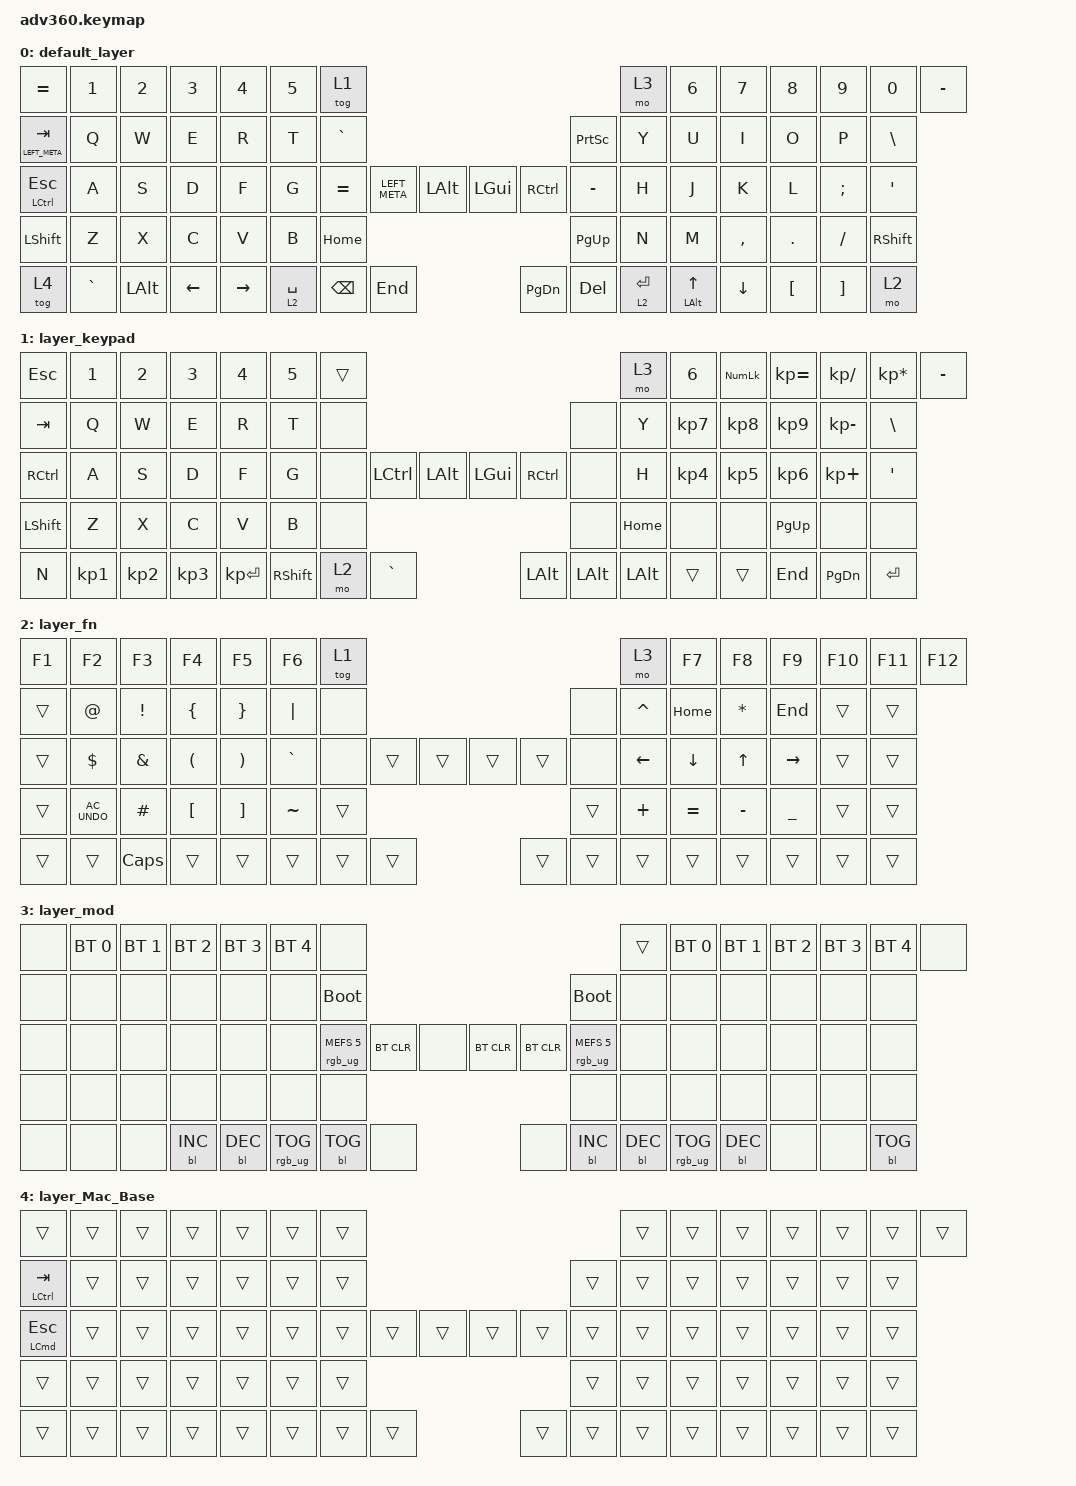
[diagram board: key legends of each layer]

/*
 * Copyright (c) 2020 The ZMK Contributors
 *
 * SPDX-License-Identifier: MIT
 */


/* THIS FILE WAS GENERATED!
 *
 * This file was generated automatically. You may or may not want to
 * edit it directly.
 */

#include <behaviors.dtsi>
#include <dt-bindings/zmk/keys.h>
#include <dt-bindings/zmk/bt.h>
#include <dt-bindings/zmk/rgb.h>
#include <dt-bindings/zmk/backlight.h>

/ {
  behaviors {
    #include "macros.dtsi"
    #include "version.dtsi"

    hm: homerow_mods {
        compatible = "zmk,behavior-hold-tap";
        label = "HOMEROW_MODS";
        #binding-cells = <2>;
        tapping-term-ms = <200>;
        quick_tap_ms = <175>;
        flavor = "tap-preferred";
        bindings = <&kp>, <&kp>;
    };
  };

    keymap {
        compatible = "zmk,keymap";


        default_layer {
            bindings = <
            &kp EQUAL     &kp N1        &kp N2          &kp N3           &kp N4  &kp N5                 &tog 1                                                                           &mo 3  &kp N6                 &kp N7          &kp N8            &kp N9             &kp N0         &kp MINUS
    &mt LEFT_META TAB      &kp Q         &kp W           &kp E            &kp R   &kp T              &kp GRAVE                                                                 &kp PRINTSCREEN   &kp Y                  &kp U           &kp I             &kp O              &kp P          &kp BSLH
 &mt LEFT_CONTROL ESC      &kp A         &kp S           &kp D            &kp F   &kp G              &kp EQUAL  &kp LEFT_META  &kp LALT                   &kp LGUI  &kp RCTRL        &kp MINUS   &kp H                  &kp J           &kp K             &kp L           &kp SEMI  &kp SINGLE_QUOTE
            &kp LSHFT      &kp Z         &kp X           &kp C            &kp V   &kp B                                        &kp HOME                  &kp PG_UP                               &kp N                  &kp M       &kp COMMA           &kp DOT          &kp SLASH   &kp RIGHT_SHIFT
               &tog 4  &kp GRAVE  &kp LEFT_ALT  &kp LEFT_ARROW  &kp RIGHT_ARROW                    &lt 2 SPACE  &kp BACKSPACE   &kp END                  &kp PG_DN    &kp DEL      &lt 2 ENTER          &mt LEFT_ALT UP_ARROW  &kp DOWN_ARROW  &kp LEFT_BRACKET  &kp RIGHT_BRACKET             &mo 2
            >;
        };

        layer_keypad {
            bindings = <
           &kp ESC     &kp N1     &kp N2     &kp N3        &kp N4  &kp N5               &trans                                                                           &mo 3    &kp N6  &kp KP_NUM  &kp KP_EQUAL  &kp KP_DIVIDE  &kp KP_MULTIPLY  &kp MINUS
           &kp TAB      &kp Q      &kp W      &kp E         &kp R   &kp T                &none                                                                           &none     &kp Y   &kp KP_N7     &kp KP_N8      &kp KP_N9     &kp KP_MINUS   &kp BSLH
 &kp RIGHT_CONTROL      &kp A      &kp S      &kp D         &kp F   &kp G                &none  &kp LCTRL   &kp LALT                      &kp LGUI     &kp RCTRL         &none     &kp H   &kp KP_N4     &kp KP_N5      &kp KP_N6      &kp KP_PLUS    &kp SQT
         &kp LSHFT      &kp Z      &kp X      &kp C         &kp V   &kp B                                      &none                         &none                              &kp HOME       &none         &none      &kp PG_UP            &none      &none
             &kp N  &kp KP_N1  &kp KP_N2  &kp KP_N3  &kp KP_ENTER                    &kp RSHFT      &mo 2  &kp GRAVE                  &kp LEFT_ALT  &kp LEFT_ALT  &kp LEFT_ALT                &trans        &trans        &kp END        &kp PG_DN  &kp ENTER
            >;
        };

        layer_fn {
            bindings = <
 &kp F1         &kp F2           &kp F3                &kp F4                 &kp F5     &kp F6            &tog 1                                                   &mo 3          &kp F7          &kp F8        &kp F9          &kp F10  &kp F11  &kp F12
 &trans         &kp AT  &kp EXCLAMATION        &kp LEFT_BRACE        &kp RIGHT_BRACE   &kp PIPE             &none                                                   &none       &kp CARET        &kp HOME      &kp STAR          &kp END   &trans   &trans
 &trans     &kp DOLLAR    &kp AMPERSAND  &kp LEFT_PARENTHESIS  &kp RIGHT_PARENTHESIS  &kp GRAVE             &none  &trans  &trans                  &trans  &trans   &none  &kp LEFT_ARROW  &kp DOWN_ARROW  &kp UP_ARROW  &kp RIGHT_ARROW   &trans   &trans
 &trans  &kp C_AC_UNDO         &kp HASH      &kp LEFT_BRACKET      &kp RIGHT_BRACKET  &kp TILDE                            &trans                  &trans                        &kp PLUS       &kp EQUAL     &kp MINUS        &kp UNDER   &trans   &trans
 &trans         &trans         &kp CAPS                &trans                 &trans                       &trans  &trans  &trans                  &trans  &trans  &trans                          &trans        &trans           &trans   &trans   &trans
            >;
        };

        layer_mod {
            bindings = <
  &none  &bt BT_SEL 0  &bt BT_SEL 1  &bt BT_SEL 2  &bt BT_SEL 3  &bt BT_SEL 4                             &none                                                                              &trans  &bt BT_SEL 0     &bt BT_SEL 1  &bt BT_SEL 2  &bt BT_SEL 3  &bt BT_SEL 4       &none
  &none         &none         &none         &none         &none         &none                       &bootloader                                                                         &bootloader         &none            &none         &none         &none         &none       &none
  &none         &none         &none         &none         &none         &none            &rgb_ug RGB_MEFS_CMD 5  &bt BT_CLR   &none                  &bt BT_CLR  &bt BT_CLR  &rgb_ug RGB_MEFS_CMD 5         &none            &none         &none         &none         &none       &none
  &none         &none         &none         &none         &none         &none                                                 &none                       &none                                             &none            &none         &none         &none         &none       &none
  &none         &none         &none    &bl BL_INC    &bl BL_DEC                                 &rgb_ug RGB_TOG  &bl BL_TOG   &none                       &none  &bl BL_INC              &bl BL_DEC                &rgb_ug RGB_TOG    &bl BL_DEC         &none         &none  &bl BL_TOG
            >;
        };

        layer_Mac_Base {
            bindings = <
                  &trans  &trans  &trans  &trans  &trans  &trans            &trans                                                  &trans  &trans  &trans  &trans  &trans  &trans  &trans
    &mt LEFT_CONTROL TAB  &trans  &trans  &trans  &trans  &trans            &trans                                                  &trans  &trans  &trans  &trans  &trans  &trans  &trans
 &mt LEFT_COMMAND ESCAPE  &trans  &trans  &trans  &trans  &trans            &trans  &trans  &trans                  &trans  &trans  &trans  &trans  &trans  &trans  &trans  &trans  &trans
                  &trans  &trans  &trans  &trans  &trans  &trans                            &trans                  &trans                  &trans  &trans  &trans  &trans  &trans  &trans
                  &trans  &trans  &trans  &trans  &trans                    &trans  &trans  &trans                  &trans  &trans  &trans          &trans  &trans  &trans  &trans  &trans
            >;
        };

    };
};
